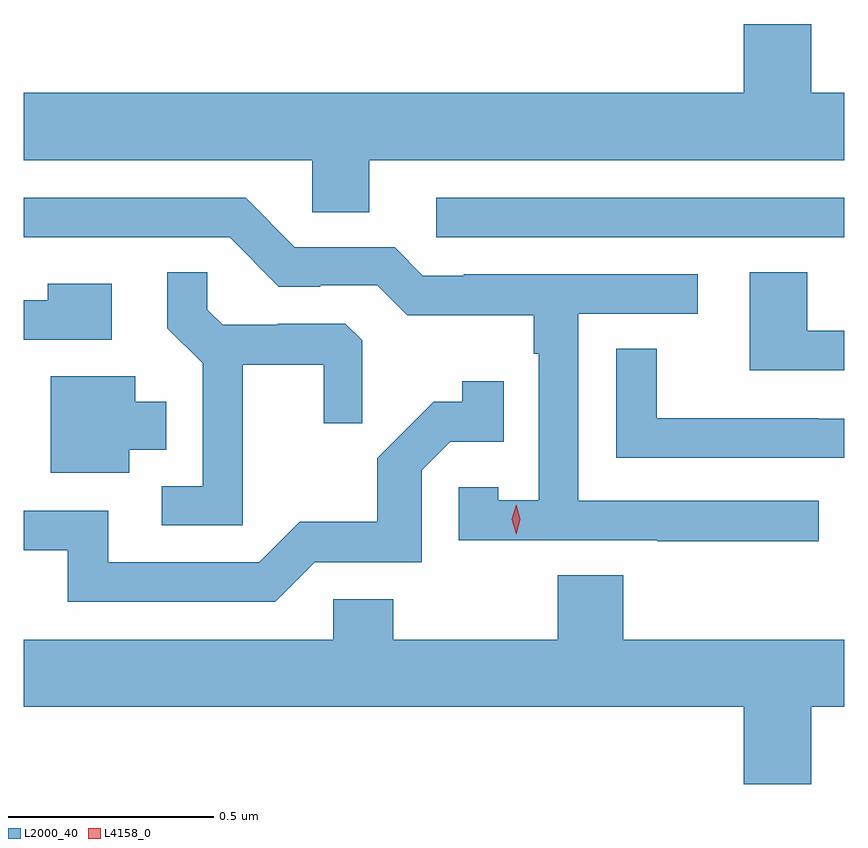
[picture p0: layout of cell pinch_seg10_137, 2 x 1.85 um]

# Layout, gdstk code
import gdstk
lib = gdstk.Library(unit=1e-6, precision=1e-09)
def R(c, l, rs):  # rectangles x0, y0, x1, y1
    for r in rs: c.add(gdstk.rectangle(r[:2], r[2:], *l))
def P(c, l, *ps):  # polygons
    for p in ps: c.add(gdstk.Polygon(p, *l))
L2000_40 = (2000, 40)
L4158_0 = (4158, 0)

pinch_seg10_137 = lib.new_cell('pinch_seg10_137')
R(pinch_seg10_137, L2000_40, [(763.659,1262.832,764.653,1262.928)])
P(pinch_seg10_137, L2000_40, [(763.495,1263.02),(764.653,1263.02),(764.653,1263.184),(764.572,1263.184),(764.572,1263.352),(764.408,1263.352),(764.408,1263.184),(762.653,1263.184),(762.653,1263.02),(763.356,1263.02),(763.356,1262.893),(763.495,1262.893)],
  [(764.59,1262.19),(764.004,1262.19),(764.004,1262.646),(764.296,1262.646),(764.296,1262.742),(763.726,1262.742),(763.726,1262.739),(763.626,1262.739),(763.557,1262.808),(763.314,1262.808),(763.194,1262.928),(762.653,1262.928),(762.653,1262.832),(763.155,1262.832),(763.275,1262.712),(763.376,1262.712),(763.376,1262.715),(763.515,1262.715),(763.588,1262.642),(763.896,1262.642),(763.896,1262.549),(763.908,1262.549),(763.908,1262.191),(763.809,1262.191),(763.809,1262.223),(763.713,1262.223),(763.713,1262.094),(764.197,1262.094),(764.197,1262.092),(764.59,1262.092)],
  [(764.653,1262.604),(764.563,1262.604),(764.563,1262.747),(764.423,1262.747),(764.423,1262.508),(764.653,1262.508)],
  [(763.187,1262.522),(763.384,1262.522),(763.384,1262.379),(763.478,1262.379),(763.478,1262.581),(763.437,1262.622),(763.272,1262.622),(763.272,1262.619),(763.138,1262.619),(763.101,1262.656),(763.101,1262.747),(763.003,1262.747),(763.003,1262.611),(763.089,1262.525),(763.089,1262.226),(762.99,1262.226),(762.99,1262.13),(763.187,1262.13)],
  [(762.868,1262.719),(762.712,1262.719),(762.712,1262.679),(762.653,1262.679),(762.653,1262.583),(762.868,1262.583)],
  [(764.653,1262.39),(764.591,1262.39),(764.591,1262.391),(764.196,1262.391),(764.196,1262.561),(764.097,1262.561),(764.097,1262.295),(764.653,1262.295)],
  [(762.91,1262.315),(763,1262.315),(763,1262.431),(762.925,1262.431),(762.925,1262.494),(762.719,1262.494),(762.719,1262.258),(762.91,1262.258)],
  [(763.362,1262.04),(763.623,1262.04),(763.623,1262.265),(763.692,1262.334),(763.823,1262.334),(763.823,1262.482),(763.722,1262.482),(763.722,1262.432),(763.652,1262.432),(763.515,1262.294),(763.515,1262.139),(763.326,1262.139),(763.227,1262.04),(762.859,1262.04),(762.859,1262.166),(762.653,1262.166),(762.653,1262.07),(762.761,1262.07),(762.761,1261.944),(763.266,1261.944)],
  [(764.572,1261.688),(764.653,1261.688),(764.653,1261.852),(764.114,1261.852),(764.114,1262.009),(763.954,1262.009),(763.954,1261.852),(763.554,1261.852),(763.554,1261.95),(763.407,1261.95),(763.407,1261.852),(762.653,1261.852),(762.653,1261.688),(764.408,1261.688),(764.408,1261.5),(764.572,1261.5)])
P(pinch_seg10_137, L4158_0, [(763.853,1262.109),(763.853,1262.109),(763.843,1262.145),(763.853,1262.181),(763.853,1262.181),(763.853,1262.181),(763.863,1262.145),(763.853,1262.109)])

lib.write_gds('pinch_seg10_137.gds')
